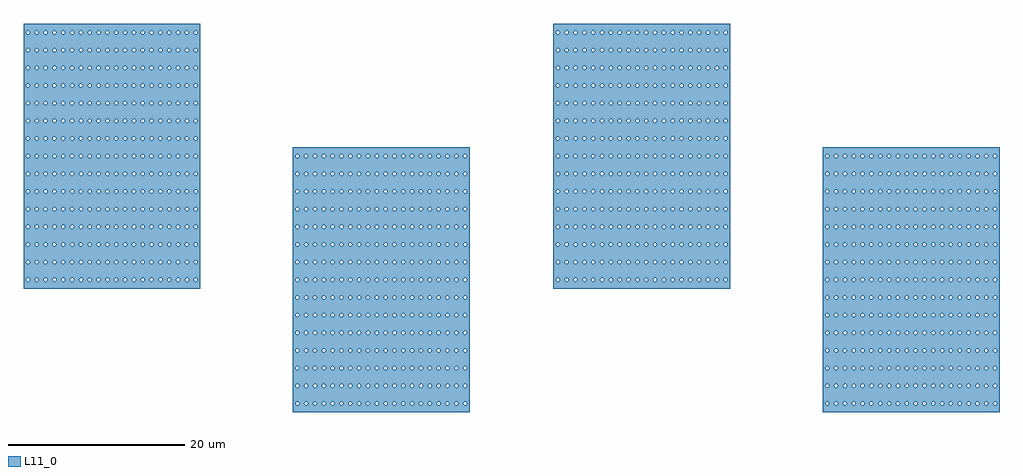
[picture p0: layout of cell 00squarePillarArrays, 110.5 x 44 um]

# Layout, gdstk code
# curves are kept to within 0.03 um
import gdstk
lib = gdstk.Library(unit=1e-6, precision=1e-09)
def P(c, l, *ps):  # polygons
    for p in ps: c.add(gdstk.Polygon(p, *l))
L11_0 = (11, 0)

sqrp = lib.new_cell('sqrP')
P(sqrp, L11_0, [(-0.5,-1),(-0.5,-0.2),(0.056,-0.192),(0.151,-0.131),(0.2,0),(0.131,0.151),(-0.056,0.192),(-0.168,0.108),(-0.198,-0.028),(-0.131,-0.151),(0,-0.2),(-0.5,-0.2),(-0.5,1),(0.5,1),(0.5,-1)])

sqrpc = lib.new_cell('sqrPC')
P(sqrpc, L11_0, [(-0.5,-1),(-0.5,-0.2),(0.056,-0.192),(0.151,-0.131),(0.2,0),(0.131,0.151),(-0.056,0.192),(-0.168,0.108),(-0.198,-0.028),(-0.131,-0.151),(0,-0.2),(-0.5,-0.2),(-0.5,1),(0.5,1),(0.5,-1)])

sqrpv = lib.new_cell('sqrPV')
P(sqrpv, L11_0, [(-0.5,-1),(-0.5,-0.2),(0.059,-0.191),(0.166,-0.112),(0.2,0),(0.112,0.166),(-0.059,0.191),(-0.166,0.112),(-0.196,-0.04),(-0.127,-0.154),(0,-0.2),(-0.5,-0.2),(-0.5,1),(0.5,1),(0.5,-1)])

sqrpvc = lib.new_cell('sqrPVC')
P(sqrpvc, L11_0, [(-0.5,-1),(-0.5,-0.2),(0.059,-0.191),(0.166,-0.112),(0.2,0),(0.112,0.166),(-0.059,0.191),(-0.166,0.112),(-0.196,-0.04),(-0.127,-0.154),(0,-0.2),(-0.5,-0.2),(-0.5,1),(0.5,1),(0.5,-1)])

c_00squarepillararrays = lib.new_cell('00squarePillarArrays')
r = gdstk.Reference(sqrp, (0,0)); r.repetition = gdstk.Repetition(20, 15, v1=(1,0), v2=(0,2)); c_00squarepillararrays.add(r)
r = gdstk.Reference(sqrpc, (30.5,-14)); r.repetition = gdstk.Repetition(20, 15, v1=(1,0), v2=(0,2)); c_00squarepillararrays.add(r)
r = gdstk.Reference(sqrpv, (60,0)); r.repetition = gdstk.Repetition(20, 15, v1=(1,0), v2=(0,2)); c_00squarepillararrays.add(r)
r = gdstk.Reference(sqrpvc, (90.5,-14)); r.repetition = gdstk.Repetition(20, 15, v1=(1,0), v2=(0,2)); c_00squarepillararrays.add(r)

lib.write_gds('00squarePillarArrays.gds')
